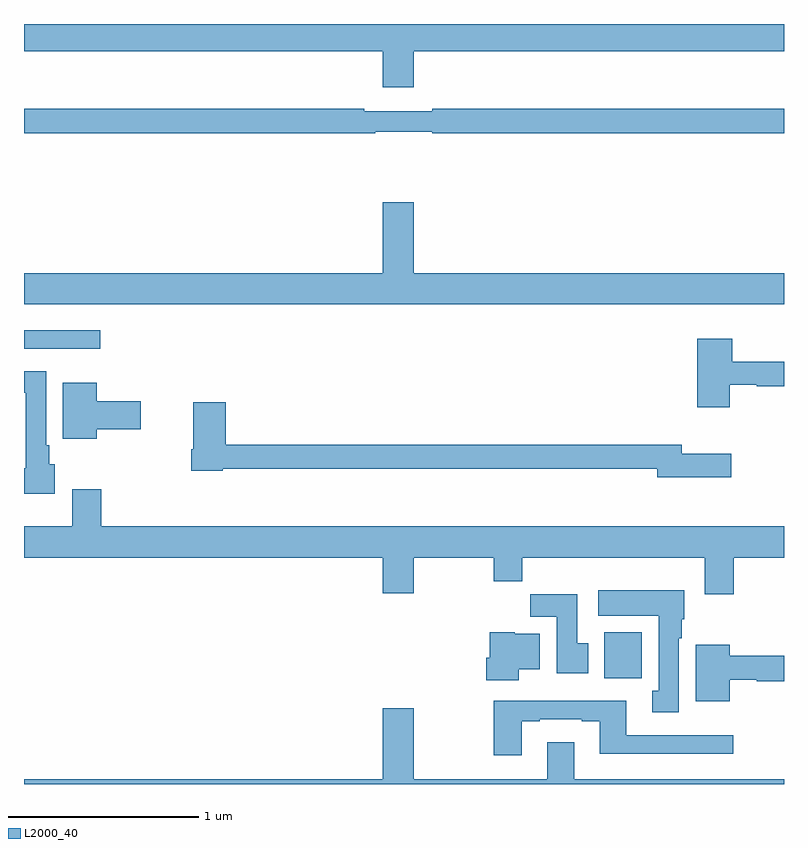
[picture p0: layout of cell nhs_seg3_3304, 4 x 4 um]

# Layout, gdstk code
import gdstk
lib = gdstk.Library(unit=1e-6, precision=1e-09)
def R(c, l, rs):  # rectangles x0, y0, x1, y1
    for r in rs: c.add(gdstk.rectangle(r[:2], r[2:], *l))
def P(c, l, *ps):  # polygons
    for p in ps: c.add(gdstk.Polygon(p, *l))
L2000_40 = (2000, 40)

nhs_seg3_3304 = lib.new_cell('nhs_seg3_3304')
R(nhs_seg3_3304, L2000_40, [(286.055,690.956,286.252,691.198), (283,692.691,283.402,692.788)])
P(nhs_seg3_3304, L2000_40, [(285.052,694.256),(287,694.256),(287,694.4),(283,694.4),(283,694.256),(284.888,694.256),(284.888,694.068),(285.052,694.068)],
  [(284.848,693.834),(285.148,693.834),(285.148,693.826),(287,693.826),(287,693.955),(285.148,693.955),(285.148,693.942),(284.792,693.942),(284.792,693.955),(283,693.955),(283,693.826),(284.848,693.826)],
  [(287,693.088),(285.052,693.088),(285.052,693.463),(284.888,693.463),(284.888,693.088),(283,693.088),(283,692.924),(287,692.924)],
  [(286.714,692.502),(286.857,692.502),(286.857,692.494),(287,692.494),(287,692.623),(286.727,692.623),(286.727,692.743),(286.544,692.743),(286.544,692.382),(286.714,692.382)],
  [(283.162,692.082),(283.132,692.082),(283.132,692.182),(283.117,692.182),(283.117,692.572),(283,692.572),(283,692.459),(283.01,692.459),(283.01,692.062),(283,692.062),(283,691.928),(283.162,691.928)],
  [(283.384,692.267),(283.615,692.267),(283.615,692.414),(283.384,692.414),(283.384,692.512),(283.205,692.512),(283.205,692.216),(283.384,692.216)],
  [(286.723,692.137),(286.462,692.137),(286.462,692.186),(284.063,692.186),(284.063,692.41),(283.892,692.41),(283.892,692.161),(283.88,692.161),(283.88,692.05),(284.046,692.05),(284.046,692.058),(286.334,692.058),(286.334,692.015),(286.723,692.015)],
  [(286.736,691.592),(287,691.592),(287,691.756),(283.406,691.756),(283.406,691.951),(283.253,691.951),(283.253,691.756),(283,691.756),(283,691.592),(284.888,691.592),(284.888,691.404),(285.052,691.404),(285.052,691.592),(285.472,691.592),(285.472,691.468),(285.623,691.468),(285.623,691.592),(286.583,691.592),(286.583,691.398),(286.736,691.398)],
  [(286.447,691.166),(286.462,691.166),(286.462,691.266),(286.474,691.266),(286.474,691.42),(286.023,691.42),(286.023,691.286),(286.34,691.286),(286.34,690.89),(286.307,690.89),(286.307,690.777),(286.447,690.777)],
  [(285.97,691.14),(285.913,691.14),(285.913,691.399),(285.664,691.399),(285.664,691.28),(285.803,691.28),(285.803,690.984),(285.97,690.984)],
  [(285.604,691.004),(285.715,691.004),(285.715,691.192),(285.582,691.192),(285.582,691.198),(285.452,691.198),(285.452,691.065),(285.434,691.065),(285.434,690.947),(285.604,690.947)],
  [(286.714,690.948),(286.857,690.948),(286.857,690.94),(287,690.94),(287,691.076),(286.714,691.076),(286.714,691.132),(286.535,691.132),(286.535,690.836),(286.714,690.836)],
  [(285.619,690.729),(285.715,690.729),(285.715,690.741),(285.935,690.741),(285.935,690.729),(286.031,690.729),(286.031,690.56),(286.732,690.56),(286.732,690.657),(286.171,690.657),(286.171,690.838),(285.472,690.838),(285.472,690.552),(285.619,690.552)],
  [(287,690.424),(285.895,690.424),(285.895,690.619),(285.755,690.619),(285.755,690.424),(285.052,690.424),(285.052,690.799),(284.888,690.799),(284.888,690.424),(283,690.424),(283,690.4),(287,690.4)])

lib.write_gds('nhs_seg3_3304.gds')
